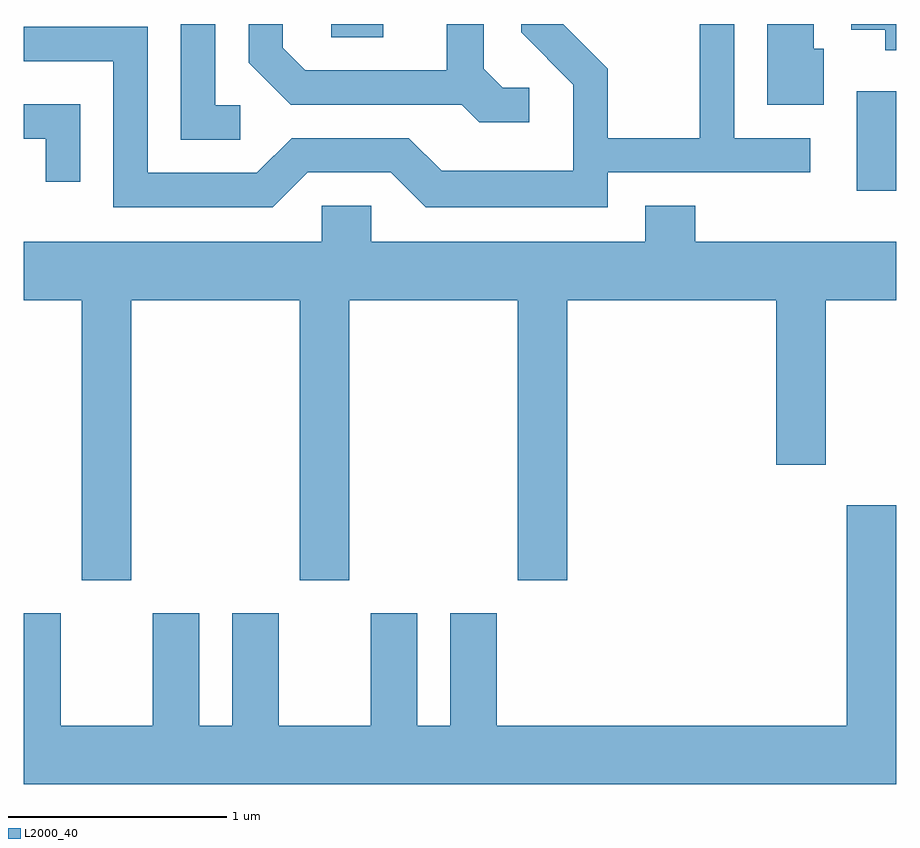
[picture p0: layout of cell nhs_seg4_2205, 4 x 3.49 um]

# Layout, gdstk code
import gdstk
lib = gdstk.Library(unit=1e-6, precision=1e-09)
def R(c, l, rs):  # rectangles x0, y0, x1, y1
    for r in rs: c.add(gdstk.rectangle(r[:2], r[2:], *l))
def P(c, l, *ps):  # polygons
    for p in ps: c.add(gdstk.Polygon(p, *l))
L2000_40 = (2000, 40)

nhs_seg4_2205 = lib.new_cell('nhs_seg4_2205')
R(nhs_seg4_2205, L2000_40, [(253.431,1315.216,253.611,1315.674), (251.021,1315.921,251.259,1315.982)])
P(nhs_seg4_2205, L2000_40, [(250.912,1315.301),(251.294,1315.301),(251.454,1315.141),(252.289,1315.141),(252.289,1315.301),(253.218,1315.301),(253.218,1315.459),(252.869,1315.459),(252.869,1315.982),(252.711,1315.982),(252.711,1315.459),(252.289,1315.459),(252.289,1315.777),(252.084,1315.982),(251.891,1315.982),(251.891,1315.944),(252.131,1315.704),(252.131,1315.309),(251.527,1315.309),(251.377,1315.459),(250.839,1315.459),(250.679,1315.299),(250.179,1315.299),(250.179,1315.969),(249.611,1315.969),(249.611,1315.811),(250.021,1315.811),(250.021,1315.141),(250.752,1315.141)],
  [(251.928,1315.689),(251.807,1315.689),(251.719,1315.777),(251.719,1315.982),(251.551,1315.982),(251.551,1315.769),(250.902,1315.769),(250.799,1315.872),(250.799,1315.982),(250.641,1315.982),(250.641,1315.804),(250.834,1315.611),(251.619,1315.611),(251.699,1315.531),(251.928,1315.531)],
  [(250.603,1315.609),(250.489,1315.609),(250.489,1315.982),(250.331,1315.982),(250.331,1315.451),(250.603,1315.451)],
  [(253.611,1315.982),(253.406,1315.982),(253.406,1315.956),(253.561,1315.956),(253.561,1315.861),(253.611,1315.861)],
  [(253.279,1315.869),(253.234,1315.869),(253.234,1315.982),(253.021,1315.982),(253.021,1315.611),(253.279,1315.611)],
  [(249.869,1315.614),(249.611,1315.614),(249.611,1315.456),(249.711,1315.456),(249.711,1315.258),(249.869,1315.258)],
  [(250.104,1314.716),(250.876,1314.716),(250.876,1313.431),(251.104,1313.431),(251.104,1314.716),(251.876,1314.716),(251.876,1313.431),(252.104,1313.431),(252.104,1314.716),(253.061,1314.716),(253.061,1313.961),(253.289,1313.961),(253.289,1314.716),(253.611,1314.716),(253.611,1314.984),(252.689,1314.984),(252.689,1315.149),(252.461,1315.149),(252.461,1314.984),(251.204,1314.984),(251.204,1315.149),(250.976,1315.149),(250.976,1314.984),(249.611,1314.984),(249.611,1314.716),(249.876,1314.716),(249.876,1313.431),(250.104,1313.431)],
  [(253.611,1313.774),(253.386,1313.774),(253.386,1312.764),(251.779,1312.764),(251.779,1313.279),(251.566,1313.279),(251.566,1312.764),(251.414,1312.764),(251.414,1313.279),(251.201,1313.279),(251.201,1312.764),(250.779,1312.764),(250.779,1313.279),(250.566,1313.279),(250.566,1312.764),(250.414,1312.764),(250.414,1313.279),(250.201,1313.279),(250.201,1312.764),(249.779,1312.764),(249.779,1313.279),(249.611,1313.279),(249.611,1312.496),(253.611,1312.496)])

lib.write_gds('nhs_seg4_2205.gds')
